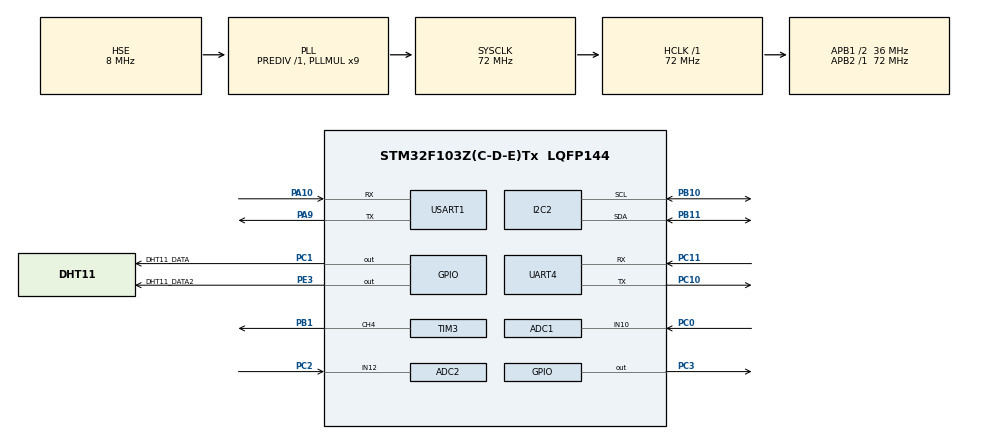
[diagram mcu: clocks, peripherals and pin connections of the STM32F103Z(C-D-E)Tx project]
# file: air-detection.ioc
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ADC1.Channel-1\#ChannelRegularConversion=ADC_CHANNEL_10
ADC1.NbrOfConversionFlag=1
ADC1.Rank-1\#ChannelRegularConversion=1
ADC1.SamplingTime-1\#ChannelRegularConversion=ADC_SAMPLETIME_239CYCLES_5
ADC1.master=1
ADC2.Channel-0\#ChannelRegularConversion=ADC_CHANNEL_12
ADC2.NbrOfConversionFlag=1
ADC2.Rank-0\#ChannelRegularConversion=1
ADC2.SamplingTime-0\#ChannelRegularConversion=ADC_SAMPLETIME_1CYCLE_5
Mcu.Family=STM32F1
Mcu.Name=STM32F103Z(C-D-E)Tx
Mcu.Package=LQFP144
NVIC.PriorityGroup=NVIC_PRIORITYGROUP_4
OSC_IN.Mode=HSE-External-Oscillator
OSC_IN.Signal=RCC_OSC_IN
OSC_OUT.Mode=HSE-External-Oscillator
OSC_OUT.Signal=RCC_OSC_OUT
PA10.Mode=Asynchronous
PA10.Signal=USART1_RX
PA13.Mode=Serial_Wire
PA13.Signal=SYS_JTMS-SWDIO
PA14.Mode=Serial_Wire
PA14.Signal=SYS_JTCK-SWCLK
PA9.Mode=Asynchronous
PA9.Signal=USART1_TX
PB1.Signal=S_TIM3_CH4
PB10.Mode=I2C
PB10.Signal=I2C2_SCL
PB11.Mode=I2C
PB11.Signal=I2C2_SDA
PC0.Signal=ADCx_IN10
PC1.GPIO_Label=DHT11_DATA
PC1.GPIO_ModeDefaultOutputPP=GPIO_MODE_OUTPUT_OD
PC1.GPIO_PuPd=GPIO_PULLUP
PC1.GPIO_Speed=GPIO_SPEED_FREQ_HIGH
PC1.PinState=GPIO_PIN_SET
PC1.Signal=GPIO_Output
PC10.Mode=Asynchronous
PC10.Signal=UART4_TX
PC11.Mode=Asynchronous
PC11.Signal=UART4_RX
PC2.Signal=ADCx_IN12
PC3.Signal=GPIO_Output
PE3.GPIO_Label=DHT11_DATA2
PE3.GPIO_ModeDefaultOutputPP=GPIO_MODE_OUTPUT_OD
PE3.GPIO_PuPd=GPIO_PULLUP
PE3.GPIO_Speed=GPIO_SPEED_FREQ_HIGH
PE3.PinState=GPIO_PIN_SET
PE3.Signal=GPIO_Output
ProjectManager.HeapSize=0x200
ProjectManager.StackSize=0x400
ProjectManager.TargetToolchain=MDK-ARM V5.32
RCC.ADCPresc=RCC_ADCPCLK2_DIV6
RCC.AHBFreq_Value=72000000
RCC.APB1CLKDivider=RCC_HCLK_DIV2
RCC.APB1Freq_Value=36000000
RCC.APB1TimFreq_Value=72000000
RCC.APB2Freq_Value=72000000
RCC.APB2TimFreq_Value=72000000
RCC.HCLKFreq_Value=72000000
RCC.PLLMUL=RCC_PLL_MUL9
RCC.PLLSourceVirtual=RCC_PLLSOURCE_HSE
RCC.SYSCLKFreq_VALUE=72000000
RCC.SYSCLKSource=RCC_SYSCLKSOURCE_PLLCLK
RCC.USBFreq_Value=72000000
SH.ADCx_IN10.0=ADC1_IN10,IN10
SH.ADCx_IN12.0=ADC2_IN12,IN12
SH.S_TIM3_CH4.0=TIM3_CH4,PWM Generation4 CH4
TIM3.Channel-PWM\ Generation4\ CH4=TIM_CHANNEL_4
TIM3.Period=999
TIM3.Prescaler=72-1
TIM3.Pulse-PWM\ Generation4\ CH4=32
UART4.VirtualMode=Asynchronous
USART1.VirtualMode=VM_ASYNC
board=custom

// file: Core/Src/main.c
/* USER CODE BEGIN Header */
/**
 ******************************************************************************
 * @file           : main.c
 * @brief          : Main program body
 ******************************************************************************
 * @attention
 *
 * Copyright (c) 2025 STMicroelectronics.
 * All rights reserved.
 *
 * This software is licensed under terms that can be found in the LICENSE file
 * in the root directory of this software component.
 * If no LICENSE file comes with this software, it is provided AS-IS.
 *
 ******************************************************************************
 */
/* USER CODE END Header */
#include "main.h"
#include "adc.h"
#include "i2c.h"
#include "tim.h"
#include "usart.h"
#include "gpio.h"

/* USER CODE BEGIN Includes */
#include "dht11/dht11.h" // 包含DHT11温湿度传感器驱动头文件
#include "mq4/mq4.h"
#include "sgp30/sgp30.h"
#include "gp2y1014au/gp2y1014au.h"
/* USER CODE END Includes */

void SystemClock_Config(void);

/* USER CODE BEGIN 0 */
/**
 * @函数名      : Enable_DWT
 * @描述        : 启用DWT（数据观察点和跟踪）单元
 * @注意事项    : 必须在使用delay_us函数前调用此函数
 * @实现细节    : 启用CoreDebug DEMCR寄存器的TRCENA位，并启用DWT的CYCCNT计数器
 */
void Enable_DWT(void)
{
  CoreDebug->DEMCR |= CoreDebug_DEMCR_TRCENA_Msk; // 启用跟踪和调试功能
  DWT->CYCCNT = 0;                                // 复位循环计数器
  DWT->CTRL |= DWT_CTRL_CYCCNTENA_Msk;            // 启用循环计数器
}
/* USER CODE END 0 */

int main(void)
{

  /* MCU Configuration--------------------------------------------------------*/

  /* Reset of all peripherals, Initializes the Flash interface and the Systick. */
  HAL_Init();

  /* Configure the system clock */
  SystemClock_Config();

  /* USER CODE BEGIN SysInit */
  Enable_DWT(); // 启用DWT
  /* USER CODE END SysInit */

  /* Initialize all configured peripherals */
  MX_GPIO_Init();
  MX_USART1_UART_Init();
  MX_ADC1_Init();
  MX_I2C2_Init();
  MX_ADC2_Init();
  MX_TIM3_Init();
  MX_UART4_Init();
  /* USER CODE BEGIN 2 */
  /* 初始化传感器 */
  // 初始化DHT11温湿度传感器
  DHT11_Init(DHT11_DATA2_GPIO_Port, DHT11_DATA2_Pin);
  char uart_buf[50];      // 定义UART发送缓冲区
  DHT11_Data sensor_data; // 定义DHT11数据结构体

  // 初始化MQ4甲烷气体传感器
  MQ4_Init(&hadc1);              // 传递ADC句柄
  MQ4_CalibState mq4_calib_stat; // 校准状态跟踪变量

  // 初始化SGP30气体传感器
  sgp30_init(&hi2c2);
  SGP30_DATA sgp30_data;
  // 报告初始化完成
  HAL_UART_Transmit(&huart1, (uint8_t *)"SGP30 Initialization, wait for the warm-up...\r\n", 47, 100);

  // 粉尘传感器初始化
  GP2Y1014AU_Init(&hadc1, &htim3);

  // 发送粉尘传感器初始化完成消息
  HAL_UART_Transmit(&huart1, (uint8_t *)"GP2Y1014AU Dust Sensor Initialization Complete\r\n", 48, 100);

  // 报告数据
  char report[150];
  /* USER CODE END 2 */

  /* Infinite loop */
  while (1)
  {

    /* USER CODE BEGIN 3 */

    /* MQ4传感器校准处理 */
    mq4_calib_stat = MQ4_GetCalibStatus();
    if (mq4_calib_stat != MQ4_CALIB_DONE)
    {
      // 执行校准过程（非阻塞）
      MQ4_Calibrate();

      // 每秒发送一次校准状态信息
      static uint32_t last_msg = 0;
      if (HAL_GetTick() - last_msg > 1000)
      {
        char buf[60];
        int len = snprintf(buf, sizeof(buf),
                           "[MQ4] Calibrating... %d/%d samples, Remain: %ds\r\n",
                           MQ4_GetSampleCount(),      // 已采样次数
                           MQ4_GetCalibrationTotal(), // 总采样次数
                           MQ4_GetRemainingTime());   // 剩余校准时间
        // 确保使用实际长度而非strlen
        HAL_UART_Transmit(&huart1, (uint8_t *)buf, len, 100);
        last_msg = HAL_GetTick();
      }
      HAL_Delay(200);
      continue; // 跳过传感器数据采集，继续校准
    }

    /* 传感器数据采集与发送 */
    // 1. 读取DHT11温湿度数据
    if (DHT11_Read(&sensor_data) != HAL_OK)
    {
      // 发送读取错误消息
      const char *err_msg = "DHT11 Read Error!\r\n";
      HAL_UART_Transmit(&huart1, (uint8_t *)err_msg, 20, 300);
    }

    // 2. 读取MQ4甲烷气体浓度数据
    float ppm = MQ4_ReadPPM();

    // 3. 读取SGP30二氧化碳和TVOC浓度
    if (sgp30_read(&sgp30_data) != HAL_OK)
    {
      // 添加错误处理
      HAL_UART_Transmit(&huart1, (uint8_t *)"SGP30 Read Error!\r\n", 19, 100);
    }

    // 4. 读取GP2Y1014AU读取PM2.5
    float density = GP2Y1014AU_ReadDustDensity();
    float voltage = GP2Y1014AU_ReadVoltage();

    // 输出传感器电压值，便于调试
    char dust_debug[50];
    int debug_len = snprintf(dust_debug, sizeof(dust_debug), "Dust Sensor: V=%.2fV, PM2.5=%.1f ug/m^3\r\n",
                             voltage, density);
    HAL_UART_Transmit(&huart1, (uint8_t *)dust_debug, debug_len, 100);

    // 发送所有数据
    int report_len = snprintf(report, sizeof(report),
                              "Humidity: %d.%d%%, Temperature: %d.%d C, Methane: %.1f ppm, TVOC: %u ppb, CO2eq: %u ppm, Dust(PM2.5): %.1f ug/m^3\n",
                              sensor_data.humidity, sensor_data.humidity_dec,
                              sensor_data.temperature, sensor_data.temperature_dec,
                              ppm, sgp30_data.tvoc_ppb, sgp30_data.co2_eq_ppm,
                              density);
    // 单次UART传输所有数据
    // 在发送数据前打印内容到调试串口（USART1）
    HAL_UART_Transmit(&huart1, (uint8_t *)"[STM32] Sending: ", 15, 100);
    HAL_UART_Transmit(&huart1, (uint8_t *)report, report_len, 100);
    HAL_UART_Transmit(&huart1, (uint8_t *)"\n", 1, 100); // 换行

    // 发送到ESP8266
    HAL_UART_Transmit(&huart4, (uint8_t *)report, report_len, 100);
    HAL_UART_Transmit(&huart4, (uint8_t *)"\n", 1, 100); // 仅发送\n

    // 延时2秒再次读取，避免频繁读取传感器
    HAL_Delay(1000);
  }
  /* USER CODE END 3 */
}

void SystemClock_Config(void)
{
  RCC_OscInitTypeDef RCC_OscInitStruct = {0};
  RCC_ClkInitTypeDef RCC_ClkInitStruct = {0};
  RCC_PeriphCLKInitTypeDef PeriphClkInit = {0};

  /** Initializes the RCC Oscillators according to the specified parameters
   * in the RCC_OscInitTypeDef structure.
   */
  RCC_OscInitStruct.OscillatorType = RCC_OSCILLATORTYPE_HSE;
  RCC_OscInitStruct.HSEState = RCC_HSE_ON;
  RCC_OscInitStruct.HSEPredivValue = RCC_HSE_PREDIV_DIV1;
  RCC_OscInitStruct.HSIState = RCC_HSI_ON;
  RCC_OscInitStruct.PLL.PLLState = RCC_PLL_ON;
  RCC_OscInitStruct.PLL.PLLSource = RCC_PLLSOURCE_HSE;
  RCC_OscInitStruct.PLL.PLLMUL = RCC_PLL_MUL9;
  if (HAL_RCC_OscConfig(&RCC_OscInitStruct) != HAL_OK)
  {
    Error_Handler();
  }

  /** Initializes the CPU, AHB and APB buses clocks
   */
  RCC_ClkInitStruct.ClockType = RCC_CLOCKTYPE_HCLK | RCC_CLOCKTYPE_SYSCLK | RCC_CLOCKTYPE_PCLK1 | RCC_CLOCKTYPE_PCLK2;
  RCC_ClkInitStruct.SYSCLKSource = RCC_SYSCLKSOURCE_PLLCLK;
  RCC_ClkInitStruct.AHBCLKDivider = RCC_SYSCLK_DIV1;
  RCC_ClkInitStruct.APB1CLKDivider = RCC_HCLK_DIV2;
  RCC_ClkInitStruct.APB2CLKDivider = RCC_HCLK_DIV1;

  if (HAL_RCC_ClockConfig(&RCC_ClkInitStruct, FLASH_LATENCY_2) != HAL_OK)
  {
    Error_Handler();
  }
  PeriphClkInit.PeriphClockSelection = RCC_PERIPHCLK_ADC;
  PeriphClkInit.AdcClockSelection = RCC_ADCPCLK2_DIV6;
  if (HAL_RCCEx_PeriphCLKConfig(&PeriphClkInit) != HAL_OK)
  {
    Error_Handler();
  }
}

void Error_Handler(void)
{
  __disable_irq();
  while (1)
  {
  }
}
